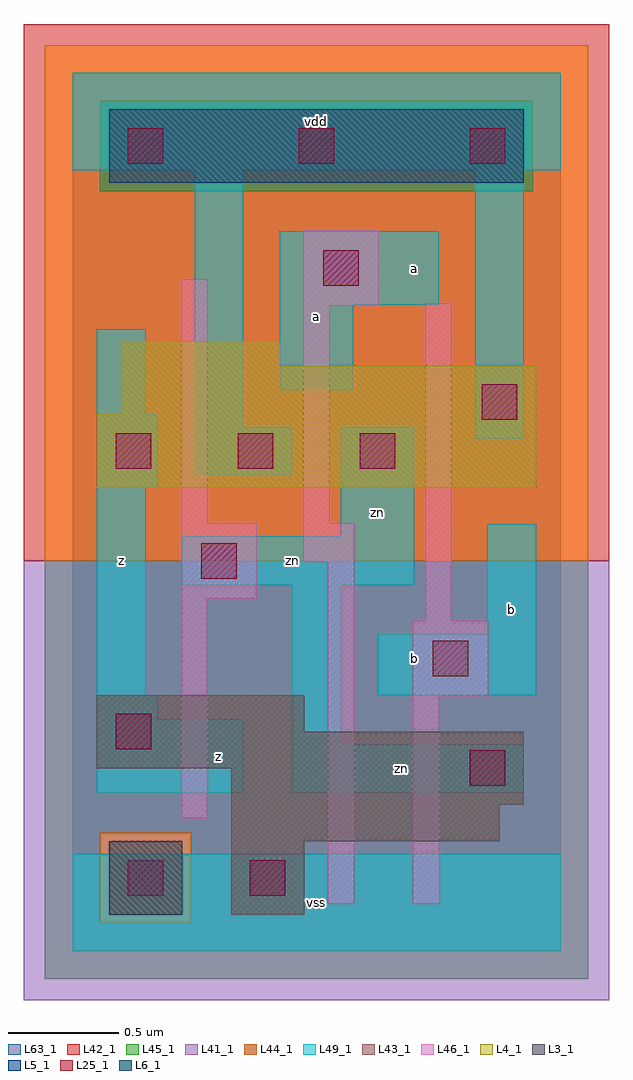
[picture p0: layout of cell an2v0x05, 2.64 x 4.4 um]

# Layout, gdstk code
import gdstk
lib = gdstk.Library(unit=1e-6, precision=1e-09)
def R(c, l, rs):  # rectangles x0, y0, x1, y1
    for r in rs: c.add(gdstk.rectangle(r[:2], r[2:], *l))
def A(c, l, x, y, w, h, nx, ny, dx, dy):  # array of equal rectangles
    R(c, l, [(x+i*dx, y+j*dy, x+i*dx+w, y+j*dy+h) for i in range(nx) for j in range(ny)])
L3_1 = (3, 1)
L4_1 = (4, 1)
L5_1 = (5, 1)
L6_1 = (6, 1)
L25_1 = (25, 1)
L41_1 = (41, 1)
L42_1 = (42, 1)
L43_1 = (43, 1)
L44_1 = (44, 1)
L45_1 = (45, 1)
L46_1 = (46, 1)
L49_1 = (49, 1)
L63_1 = (63, 1)

an2v0x05 = lib.new_cell('an2v0x05')
R(an2v0x05, L3_1, [(0.715,0.165,1.045,0.495), (0.715,0.495,1.925,0.66), (0.715,0.66,2.035,0.825), (0.11,0.825,2.035,0.99), (0.11,0.99,1.045,1.155)])
R(an2v0x05, L4_1, [(0.11,2.09,2.09,2.42), (0.22,2.42,2.09,2.64), (0.22,2.64,0.935,2.75)])
R(an2v0x05, L5_1, [(0.165,3.465,2.035,3.795)])
R(an2v0x05, L6_1, [(0.165,0.165,0.495,0.495)])
A(an2v0x05, L25_1, 0.195, 2.175, 0.16, 0.16, 3, 1, 0.55, 0)
A(an2v0x05, L25_1, 0.25, 3.55, 0.16, 0.16, 3, 1, 0.77, 0)
R(an2v0x05, L25_1, [(0.25,0.25,0.41,0.41), (0.8,0.25,0.96,0.41), (1.79,0.745,1.95,0.905), (0.195,0.91,0.355,1.07), (1.625,1.24,1.785,1.4), (0.58,1.68,0.74,1.84), (1.845,2.395,2.005,2.555), (1.13,3,1.29,3.16)])
R(an2v0x05, L41_1, [(-0.22,-0.22,2.42,1.76)])
R(an2v0x05, L42_1, [(-0.22,1.76,2.42,4.18)])
R(an2v0x05, L43_1, [(0.165,0.165,0.495,0.495), (0.715,0.165,1.045,0.495), (0.715,0.495,1.925,0.66), (0.715,0.66,2.035,0.825), (0.11,0.825,2.035,0.99), (0.11,0.99,1.045,1.155), (0.11,2.09,2.09,2.42), (0.22,2.42,2.09,2.64), (0.22,2.64,0.935,2.75), (0.165,3.465,2.035,3.795)])
R(an2v0x05, L44_1, [(0.125,0.125,0.535,0.535), (-0.125,1.76,2.325,3.425), (-0.125,3.425,0.125,3.835), (2.075,3.425,2.325,3.835), (-0.125,3.835,2.325,4.085)])
R(an2v0x05, L45_1, [(-0.125,-0.125,2.325,0.125), (-0.125,0.125,0.125,0.535), (0.535,0.125,2.325,0.535), (-0.125,0.535,2.325,1.76), (0.125,3.425,2.075,3.835)])
R(an2v0x05, L46_1, [(1.15,0.215,1.27,1.755), (1.535,0.215,1.655,1.15), (0.49,0.6,0.61,1.59), (1.535,1.15,1.875,1.49), (1.59,1.49,1.71,2.92), (0.49,1.59,0.83,1.93), (1.04,1.755,1.27,1.93), (0.49,1.93,0.61,3.03), (1.04,1.93,1.16,2.91), (1.04,2.91,1.38,3.25)])
R(an2v0x05, L49_1, [(0,0,2.2,0.44), (0.11,0.715,0.77,1.045), (0.99,0.715,2.035,0.935), (0.99,0.935,1.21,1.65), (0.11,1.045,0.385,1.155), (0.11,1.155,0.33,2.09), (1.375,1.155,2.09,1.43), (1.87,1.43,2.09,1.925), (0.495,1.65,1.54,1.87), (1.21,1.87,1.54,2.365), (0.11,2.09,0.385,2.42), (0.55,2.145,0.99,2.365), (1.815,2.31,2.035,3.52), (0.55,2.365,0.77,3.52), (0.11,2.42,0.33,2.805), (0.935,2.53,1.265,2.915), (0.935,2.915,1.65,3.245), (0,3.52,2.2,3.96)])
R(an2v0x05, L63_1, [(0,0,2.2,3.96)])
an2v0x05.add(gdstk.Label('z', (0.22,1.76), layer=49, texttype=1))
an2v0x05.add(gdstk.Label('z', (0.66,0.88), layer=49, texttype=1))
an2v0x05.add(gdstk.Label('vss', (1.1,0.22), layer=49, texttype=1))
an2v0x05.add(gdstk.Label('zn', (0.99,1.76), layer=49, texttype=1))
an2v0x05.add(gdstk.Label('b', (1.54,1.32), layer=49, texttype=1))
an2v0x05.add(gdstk.Label('zn', (1.375,1.98), layer=49, texttype=1))
an2v0x05.add(gdstk.Label('a', (1.1,2.86), layer=49, texttype=1))
an2v0x05.add(gdstk.Label('a', (1.54,3.08), layer=49, texttype=1))
an2v0x05.add(gdstk.Label('vdd', (1.1,3.74), layer=49, texttype=1))
an2v0x05.add(gdstk.Label('zn', (1.485,0.825), layer=49, texttype=1))
an2v0x05.add(gdstk.Label('b', (1.98,1.54), layer=49, texttype=1))

lib.write_gds('an2v0x05.gds')
